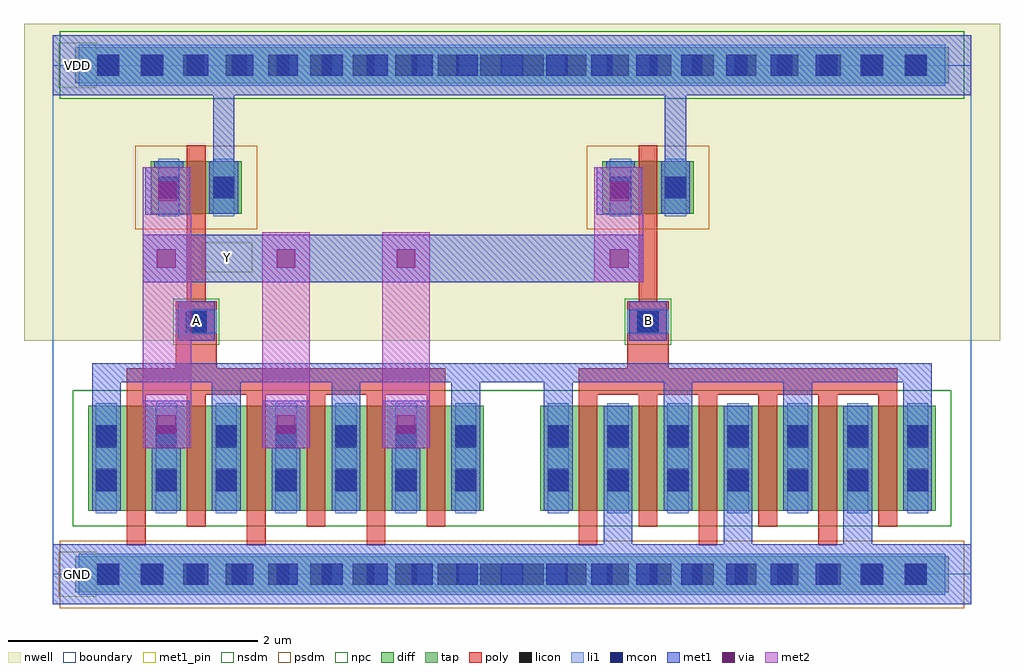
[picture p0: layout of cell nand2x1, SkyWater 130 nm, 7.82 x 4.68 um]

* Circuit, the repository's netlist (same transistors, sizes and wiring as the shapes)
** sch_path: /foss/designs/nand2x1.sch
.subckt nand2x1 A B VDD GND Y
*.PININFO A:I B:I VDD:B GND:B Y:O
XM2 Y A net1 GND sky130_fd_pr__nfet_01v8 L=0.15 W=5.04 nf=6
XM3 Y A VDD VDD sky130_fd_pr__pfet_01v8 L=0.15 W=0.42 nf=1
XM4 Y B VDD VDD sky130_fd_pr__pfet_01v8 L=0.15 W=0.42 nf=1
XM1 net1 B GND GND sky130_fd_pr__nfet_01v8 L=0.15 W=5.04 nf=6
.ends

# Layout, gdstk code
import gdstk
lib = gdstk.Library(unit=1e-6, precision=1e-09)
def R(c, l, rs):  # rectangles x0, y0, x1, y1
    for r in rs: c.add(gdstk.rectangle(r[:2], r[2:], *l))
def A(c, l, x, y, w, h, nx, ny, dx, dy):  # array of equal rectangles
    R(c, l, [(x+i*dx, y+j*dy, x+i*dx+w, y+j*dy+h) for i in range(nx) for j in range(ny)])
nwell = (64, 20)
diff = (65, 20)
tap = (65, 44)
poly = (66, 20)
licon = (66, 44)
li1 = (67, 20)
mcon = (67, 44)
met1_pin = (68, 16)
met1 = (68, 20)
via = (68, 44)
met2 = (69, 20)
nsdm = (93, 44)
psdm = (94, 20)
npc = (95, 20)
boundary = (235, 4)

sky130_fd_pr__pfet_01v8_ = lib.new_cell('sky130_fd_pr__pfet_01v8_YNU6YZ')
R(sky130_fd_pr__pfet_01v8_, nwell, [(-0.545,-0.52,0.545,0.52)])
R(sky130_fd_pr__pfet_01v8_, diff, [(-0.365,-0.21,0.365,0.21)])
R(sky130_fd_pr__pfet_01v8_, poly, [(-0.075,-0.34,0.075,0.34)])
R(sky130_fd_pr__pfet_01v8_, licon, [(-0.305,-0.085,-0.135,0.085), (0.135,-0.085,0.305,0.085)])
R(sky130_fd_pr__pfet_01v8_, li1, [(-0.305,-0.23,-0.135,0.23), (0.135,-0.23,0.305,0.23)])
R(sky130_fd_pr__pfet_01v8_, mcon, [(-0.305,-0.085,-0.135,0.085), (0.135,-0.085,0.305,0.085)])
R(sky130_fd_pr__pfet_01v8_, met1, [(-0.335,-0.21,-0.105,0.21), (0.105,-0.21,0.335,0.21)])
R(sky130_fd_pr__pfet_01v8_, psdm, [(-0.49,-0.335,0.49,0.335)])
sky130_fd_pr__pfet_01v8_.add(gdstk.Label('D', (-0.22,0), layer=67, texttype=5))
sky130_fd_pr__pfet_01v8_.add(gdstk.Label('S', (0.22,0), layer=67, texttype=5))

sky130_fd_pr__nfet_01v8_ = lib.new_cell('sky130_fd_pr__nfet_01v8_6WXBLA')
R(sky130_fd_pr__nfet_01v8_, diff, [(-1.585,-0.42,1.585,0.42)])
A(sky130_fd_pr__nfet_01v8_, poly, -1.275, -0.695, 0.15, 1.245, 3, 1, 0.96, 0)
A(sky130_fd_pr__nfet_01v8_, poly, -0.795, -0.55, 0.15, 1.245, 3, 1, 0.96, 0)
A(sky130_fd_pr__nfet_01v8_, licon, -1.525, -0.255, 0.17, 0.17, 7, 2, 0.48, 0.34)
A(sky130_fd_pr__nfet_01v8_, li1, -1.525, -0.44, 0.17, 0.88, 7, 1, 0.48, 0)
A(sky130_fd_pr__nfet_01v8_, mcon, -1.525, -0.265, 0.17, 0.17, 7, 2, 0.48, 0.36)
A(sky130_fd_pr__nfet_01v8_, met1, -1.555, -0.42, 0.23, 0.84, 7, 1, 0.48, 0)
R(sky130_fd_pr__nfet_01v8_, nsdm, [(-1.71,-0.545,1.71,0.545)])
sky130_fd_pr__nfet_01v8_.add(gdstk.Label('D0', (-1.44,0), layer=67, texttype=5))
sky130_fd_pr__nfet_01v8_.add(gdstk.Label('S1', (-0.96,0), layer=67, texttype=5))
sky130_fd_pr__nfet_01v8_.add(gdstk.Label('D2', (-0.48,0), layer=67, texttype=5))
sky130_fd_pr__nfet_01v8_.add(gdstk.Label('S3', (0,0), layer=67, texttype=5))
sky130_fd_pr__nfet_01v8_.add(gdstk.Label('D4', (0.48,0), layer=67, texttype=5))
sky130_fd_pr__nfet_01v8_.add(gdstk.Label('S5', (0.96,0), layer=67, texttype=5))

nand2x1 = lib.new_cell('nand2x1')
R(nand2x1, nwell, [(-0.23,1.87,7.59,4.41)])
R(nand2x1, tap, [(0.18,-0.145,7.18,0.145), (0.18,3.935,7.18,4.225)])
R(nand2x1, poly, [(0.595,1.44,3.145,1.65), (4.215,1.44,6.765,1.65), (0.985,1.65,1.315,2.19), (4.605,1.65,4.935,2.19), (1.075,2.19,1.225,2.95), (4.695,2.19,4.845,2.95)])
A(nand2x1, licon, 0.365, -0.085, 0.17, 0.17, 20, 2, 0.34, 4.08)
R(nand2x1, licon, [(1.065,1.94,1.235,2.11), (4.685,1.94,4.855,2.11)])
R(nand2x1, li1, [(0.21,-0.165,7.15,0.165), (0.985,1.93,1.315,2.12), (4.605,1.93,4.935,2.12), (0.21,3.915,7.15,4.245)])
A(nand2x1, mcon, 0.355, -0.085, 0.17, 0.17, 19, 2, 0.36, 4.08)
R(nand2x1, mcon, [(1.065,1.94,1.235,2.11), (4.685,1.94,4.855,2.11)])
R(nand2x1, met1_pin, [(0.05,-0.18,0.35,0.18), (1,1.87,1.3,2.19), (4.62,1.87,4.92,2.19), (1.2,2.42,1.6,2.66), (0.05,3.9,0.35,4.26)])
A(nand2x1, met1, 4.415, 0.24, 0.23, 0.36, 3, 1, 0.96, 0)
A(nand2x1, met1, 0.72, 1.01, 0.38, 0.38, 3, 1, 0.96, 0)
A(nand2x1, met1, 0.315, 1.25, 0.23, 0.29, 4, 1, 0.96, 0)
A(nand2x1, met1, 3.935, 1.25, 0.23, 0.29, 4, 1, 0.96, 0)
R(nand2x1, met1, [(0,-0.24,7.36,0.24), (0.315,1.54,7.045,1.69), (1,1.87,1.3,2.19), (4.62,1.87,4.92,2.19), (0.72,2.34,4.73,2.72), (0.74,2.88,1.1,3.26), (4.36,2.88,4.72,3.26), (1.285,3.25,1.455,3.84), (4.905,3.25,5.075,3.84), (0,3.84,7.36,4.32)])
A(nand2x1, via, 0.835, 1.125, 0.15, 0.15, 3, 2, 0.96, 1.33)
R(nand2x1, via, [(4.465,2.455,4.615,2.605), (0.845,2.995,0.995,3.145), (4.465,2.995,4.615,3.145)])
R(nand2x1, met2, [(0.72,1.01,1.11,3.26), (1.68,1.01,2.06,2.74), (2.64,1.01,3.02,2.74), (4.34,2.34,4.73,3.26)])
R(nand2x1, nsdm, [(3.58,0.385,3.78,1.475), (0.055,3.81,7.305,4.35)])
R(nand2x1, psdm, [(0.055,-0.27,7.305,0.27)])
R(nand2x1, npc, [(0.965,1.84,1.335,2.21), (4.585,1.84,4.955,2.21)])
R(nand2x1, boundary, [(0,0,7.36,4.08)])
nand2x1.add(gdstk.Reference(sky130_fd_pr__pfet_01v8_, (4.77,3.1)))
nand2x1.add(gdstk.Reference(sky130_fd_pr__pfet_01v8_, (1.15,3.1)))
nand2x1.add(gdstk.Reference(sky130_fd_pr__nfet_01v8_, (5.49,0.93)))
nand2x1.add(gdstk.Reference(sky130_fd_pr__nfet_01v8_, (1.87,0.93)))
nand2x1.add(gdstk.Label('A', (1.15,2.03), layer=68, texttype=5))
nand2x1.add(gdstk.Label('B', (4.77,2.03), layer=68, texttype=5))
nand2x1.add(gdstk.Label('Y', (1.4,2.54), layer=68, texttype=5))
nand2x1.add(gdstk.Label('VDD', (0.2,4.08), layer=68, texttype=5))
nand2x1.add(gdstk.Label('GND', (0.2,0), layer=68, texttype=5))

lib.write_gds('nand2x1.gds')
